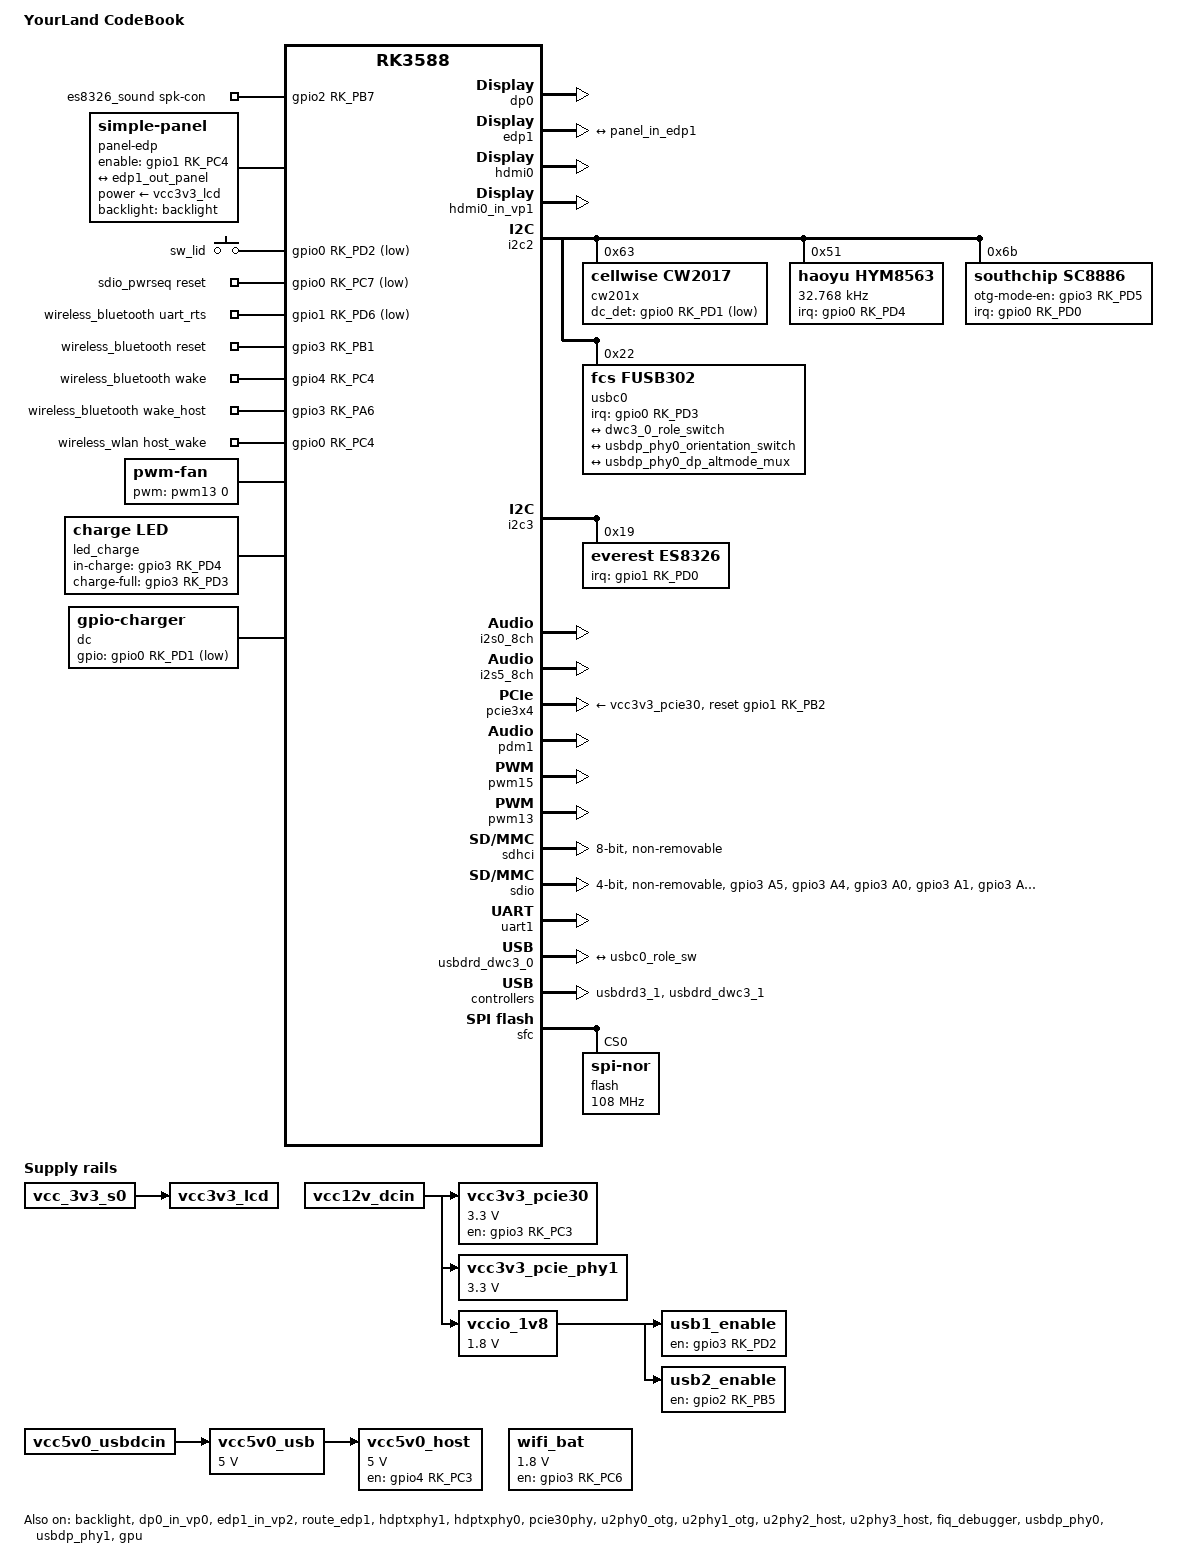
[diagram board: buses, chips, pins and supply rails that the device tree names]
 /*
  * Device Tree for YourLand Code Book.  
  * Copyright (c) 2023-2025 GEDU Technology Ltd. 
  * Copyright (c) 2021 Rockchip Electronics Co., Ltd.
  */
/dts-v1/;
#include <dt-bindings/input/gpio-keys.h>
#include <dt-bindings/input/linux-event-codes.h>
#include <dt-bindings/pwm/pwm.h>
#include <dt-bindings/leds/common.h>
#include <dt-bindings/usb/pd.h>
#include "rk3588.dtsi"
#include "rk3588-rk806-dual.dtsi"
#include "rk3588-linux.dtsi"
#include "rk3588-pc.dtsi"

/ {
	model = "YourLand CodeBook";
	compatible = "rockchip,rk3588-yourland", "rockchip,rk3588";
/*
	chosen: chosen {
		bootargs = "earlycon=uart8250,mmio32,0xfeb50000 console=tty0 root=PARTUUID=614e0000-0000 rw rootwait wifibt=ap6275s:ttyS1";
	};
*/
	dmic_sound: dmic-sound {
		status = "okay";
		compatible = "simple-audio-card";
		simple-audio-card,format = "i2s";
		simple-audio-card,mclk-fs = <256>;
		simple-audio-card,name = "rockchip,dmic-sound";
		simple-audio-card,cpu {
			sound-dai = <&pdm1>;
		};
		simple-audio-card,codec {
			sound-dai = <&dmic_codec>;
		};
	};

	dmic_codec: dmic-codec {
		status = "okay";
		compatible = "rockchip,dummy-codec";
		#sound-dai-cells = <0>;
	};

	es8326_sound: es8326-sound {
		status = "okay";
		compatible = "rockchip,multicodecs-card";
		rockchip,card-name = "rockchip-es8326";
		/* The multicodecs card owns the external speaker amplifier. */
		spk-con-gpios = <&gpio2 RK_PB7 GPIO_ACTIVE_HIGH>;
		rockchip,codec-hp-det;
		rockchip,format = "i2s";
		rockchip,mclk-fs = <256>;
		rockchip,cpu = <&i2s0_8ch>;
		rockchip,codec = <&es8326>;
		rockchip,audio-routing =
		"Headphone", "HPOL",
		"Headphone", "HPOR",
		"Headphone", "Headphone Power",
		"Headphone", "Headphone Power",
		"Speaker", "HPOL",
		"Speaker", "HPOR",
		"Speaker", "Speaker Power",
		"Speaker", "Speaker Power", 
		"MIC1", "Headset Mic",
		"MIC2", "Main Mic";
	};
 
	hdmi0_sound: hdmi0-sound {
		compatible = "rockchip,hdmi";
		rockchip,mclk-fs = <128>;
		rockchip,card-name = "rockchip-hdmi0";
		rockchip,cpu = <&i2s5_8ch>;
		rockchip,codec = <&hdmi0>;
		rockchip,jack-det;
		status = "disabled";
	};

	dp0_sound: dp0-sound {
		status = "disabled";
		compatible = "rockchip,hdmi";
		rockchip,card-name= "rockchip-dp0";
		rockchip,mclk-fs = <512>;
		rockchip,cpu = <&spdif_tx2>;
		rockchip,codec = <&dp0 1>;
		rockchip,jack-det;
	};

	leds: leds {
		compatible = "gpio-leds";
		pinctrl-names = "default";
		pinctrl-0 =<&leds_gpio>;
	};

	panel-edp {
		compatible = "simple-panel";
		backlight = <&backlight>;
		enable-gpios = <&gpio1 RK_PC4 GPIO_ACTIVE_HIGH>;
		power-supply = <&vcc3v3_lcd>;
		prepare-delay-ms = <210>;
		enable-delay-ms = <50>;
		unprepare-delay-ms = <160>;
		disable-delay-ms = <120>;
		width-mm = <309>;
		height-mm = <174>;

		panel-timing {
			clock-frequency = <148500000>;
			hactive = <1920>;
			vactive = <1080>;
			hfront-porch = <48>;
			hsync-len = <32>;
			hback-porch = <200>;
			vfront-porch = <3>;
			vsync-len = <6>;
			vback-porch = <37>;
			hsync-active = <0>;
			vsync-active = <0>;
			de-active = <0>;
			pixelclk-active = <0>;
		};

		port {
			panel_in_edp1: endpoint {
				remote-endpoint = <&edp1_out_panel>;
			};
		};
	};

	keys: gpio-keys {
		compatible = "gpio-keys";
		pinctrl-names = "default";
		pinctrl-0 = <&sw_lid>;

		hall-sensor {
			wakeup-event-action = <EV_ACT_DEASSERTED>;
			wakeup-source;
			gpios = <&gpio0 RK_PD2 GPIO_ACTIVE_LOW>;
			debounce-interval = <20>;
			label = "sw_lid";
			linux,input-type = <EV_SW>;
			linux,code = <SW_LID>;
		};
	};
	
	sdio_pwrseq: sdio-pwrseq {
		compatible = "mmc-pwrseq-simple";
		pinctrl-names = "default";
		pinctrl-0 = <&wifi_enable_h>;

		/*
		 * On the module itself this is one of these (depending
		 * on the actual card populated):
		 * - SDIO_RESET_L_WL_REG_ON
		 * - PDN (power down when low)
		 */
		post-power-on-delay-ms = <200>;
		reset-gpios = <&gpio0 RK_PC7 GPIO_ACTIVE_LOW>;
	};

	vcc3v3_lcd: vcc3v3-lcd {
		compatible = "regulator-fixed";
		regulator-name = "vcc3v3_lcd";
		vin-supply = <&vcc_3v3_s0>;
	};

	vcc3v3_pcie30: vcc3v3-pcie30 {
		compatible = "regulator-fixed";
		regulator-name = "vcc3v3_pcie30";
		regulator-min-microvolt = <3300000>;
		regulator-max-microvolt = <3300000>;
		enable-active-high;
		gpios = <&gpio3 RK_PC3 GPIO_ACTIVE_HIGH>;
		startup-delay-us = <5000>;
		/* Let the NVMe supply discharge before a subsequent power-on. */
		off-on-delay-us = <3000000>;
		vin-supply = <&vcc12v_dcin>;
	};

	vcc3v3_pcie_phy1: vcc3v3-pcie-phy1 {
		compatible = "regulator-fixed";
		regulator-name = "vcc3v3_pcie_phy1";
		regulator-min-microvolt = <3300000>;
		regulator-max-microvolt = <3300000>;
		vin-supply = <&vcc12v_dcin>;
	};

	vccio_1v8: vccio-1v8 {
		compatible = "regulator-fixed";
		regulator-name = "vccio_1v8";
		regulator-min-microvolt = <1800000>;
		regulator-max-microvolt = <1800000>;
		regulator-always-on;
		vin-supply = <&vcc12v_dcin>;
	};

	vcc5v0_host: vcc5v0-host {
		compatible = "regulator-fixed";
		regulator-name = "vcc5v0_host";
		regulator-boot-on;
		regulator-always-on;
		regulator-min-microvolt = <5000000>;
		regulator-max-microvolt = <5000000>;
		enable-active-high;
		gpio = <&gpio4 RK_PC3 GPIO_ACTIVE_HIGH>;
		vin-supply = <&vcc5v0_usb>;
		pinctrl-names = "default";
		pinctrl-0 = <&vcc5v0_host_en>;
	};
/*hard dummy U6102*/
	// vbus5v0_typec: vbus5v0-typec {
	// 	compatible = "regulator-fixed";
	// 	regulator-name = "vbus5v0_typec";
	// 	regulator-min-microvolt = <5000000>;
	// 	regulator-max-microvolt = <5000000>;
	// 	enable-active-high;
	// 	gpio = <&gpio1 RK_PB5 GPIO_ACTIVE_HIGH>;
	// 	vin-supply = <&vcc5v0_sys>;
	// 	pinctrl-names = "default";
	// 	pinctrl-0 = <&typec5v_pwren>;

	// };

	vcc5v0_usb: vcc5v0-usb {
		compatible = "regulator-fixed";
		regulator-name = "vcc5v0_usb";
		regulator-always-on;
		regulator-boot-on;
		regulator-min-microvolt = <5000000>;
		regulator-max-microvolt = <5000000>;
		vin-supply = <&vcc5v0_usbdcin>;
	};

	wifi_bat: wifi_bat {
		compatible = "regulator-fixed";
		regulator-name = "wifi_vbat";
		regulator-boot-on;
		regulator-always-on;
		regulator-min-microvolt = <1800000>;
		regulator-max-microvolt = <1800000>;
		gpio = <&gpio3 RK_PC6 GPIO_ACTIVE_HIGH>;
		enable-active-high;
		pinctrl-names = "default";
		pinctrl-0 = <&wifi_3v3>;
	};

	wireless_bluetooth: wireless-bluetooth {
		compatible = "bluetooth-platdata";
		clocks = <&hym8563>;
		clock-names = "ext_clock";
		uart_rts-gpios = <&gpio1 RK_PD6 GPIO_ACTIVE_LOW>;
		pinctrl-names = "default", "rts_gpio";
		pinctrl-0 = <&uart1m1_rtsn>;
		pinctrl-1 = <&uart1_gpios>;
		BT,reset-gpios    = <&gpio3 RK_PB1 GPIO_ACTIVE_HIGH>;
		BT,wake-gpios     = <&gpio4 RK_PC4 GPIO_ACTIVE_HIGH>;
		BT,wake_host-gpios = <&gpio3 RK_PA6 GPIO_ACTIVE_HIGH>;
		status = "okay";
	};

	wireless_wlan: wireless-wlan {
		compatible = "wlan-platdata";
		wifi_chip_type = "ap6275s";
		pinctrl-names = "default";
		pinctrl-0 = <&wifi_host_wake_irq>;
		WIFI,host_wake-gpios = <&gpio0 RK_PC4 GPIO_ACTIVE_HIGH>;
		status = "okay";
	};

	usb1_enable:usb1-enable {
		compatible = "regulator-fixed";
		regulator-name = "usb1_enable";
		regulator-always-on;
		regulator-boot-on;
		gpio = <&gpio3 RK_PD2 GPIO_ACTIVE_HIGH>;
		enable-active-high;
		vin-supply = <&vccio_1v8>;
	};

	usb2_enable:usb2-enable {
		compatible = "regulator-fixed";
		regulator-name = "usb2_enable";
		regulator-always-on;
		regulator-boot-on;
		gpio = <&gpio2 RK_PB5 GPIO_ACTIVE_HIGH>;
		enable-active-high;
		vin-supply = <&vccio_1v8>;
	};

	fan:pwm-fan {
		compatible = "pwm-fan";
		cooling-min-state = <0>;
		cooling-max-state = <3>;
		#cooling-cells = <2>;
		pwms = <&pwm13 0 3000000 PWM_POLARITY_INVERTED>;//PWM_POLARITY_INVERTED
		cooling-levels = <0 128 192 255>;
	};

	led_charge: charge-control {
		status = "okay";
		compatible = "charge,led";
		in-charge-gpio = <&gpio3 RK_PD4 GPIO_ACTIVE_HIGH>;
		charge-full-gpio = <&gpio3 RK_PD3 GPIO_ACTIVE_HIGH>;
	};

	dc:dc{
		status = "okay";
		compatible = "gpio-charger";
		gpios = <&gpio0 RK_PD1 GPIO_ACTIVE_LOW>;
		charger-type = "mains";
	};

	charge-animation {
		compatible = "rockchip,uboot-charge";
		rockchip,uboot-charge-on = <1>;
		rockchip,android-charge-on = <0>;
		rockchip,uboot-low-power-voltage = <7100>;
		rockchip,screen-on-voltage = <7120>;
		rockchip,uboot-exit-charge-voltage = <7150>;
		rockchip,uboot-exit-charge-auto = <0>;
		rockchip,system-suspend = <0>;
		rockchip,auto-off-screen-interval = <10>;

		regulator-on-in-mem = <&vdd_log_s0>, <&vcc_2v0_pldo_s3>,
		      <&vdd2_ddr_s3>, <&vcc_1v1_nldo_s3>,<&vdd1_1v8_ddr_s3>,
			  <&vccio_1v8_s3>, <&vdd_0v75_s3>,
		      <&vdd1_1v8_ddr_s3>, <&vdd_1v8_pll_s0>, <&pldo6_s3>;
		regulator-off-in-mem = <&vdd_gpu_s0>, <&vdd_npu_s0>,
		       <&vdd_vdenc_s0>, <&vdd_gpu_mem_s0>, <&vdd_npu_mem_s0>,
		       <&vdd_vdenc_mem_s0>, <&avcc_1v8_s0>, <&vcc_3v3_s0>,
		       <&vccio_sd_s0>, <&vdd_0v75_hdmi_edp_s0>, <&avdd_0v75_s0>,
		       <&vdd_0v85_s0>, <&vdd_cpu_big1_s0>, <&vdd_cpu_big0_s0>,
		       <&vdd_cpu_lit_s0>, <&vdd_cpu_big1_mem_s0>, <&vdd_cpu_big0_mem_s0>,
		       <&vcc_1v8_s0>, <&vdd_cpu_lit_mem_s0>, <&vddq_ddr_s0>,
		       <&vdd_ddr_s0>, <&vcc_1v8_cam_s0>, <&avdd1v8_ddr_pll_s0>,
		       <&vcc_3v3_sd_s0>, <&vcc_2v8_cam_s0>, <&vdd_0v75_pll_s0>,
		       <&vdd_ddr_pll_s0>, <&avdd_0v85_s0>, <&avdd_1v2_cam_s0>,
		       <&avdd_1v2_s0>, <&vcc_3v3_s3>;
		status = "okay";
	};
};

&dmic_sound {
	status = "disabled";
};
&dmic_codec {
	status = "disabled";
};

&backlight {
	status = "okay";
	pwms = <&pwm15 0 25000 0>;
	enable-gpios = <&gpio4 RK_PB5 GPIO_ACTIVE_HIGH>;
};

&spdif_tx2{
        status = "disabled";
};

&dp0_sound{
        status = "disabled";
};

&dp0 {
	status = "okay";
};

&dp0_in_vp0 {
	status = "okay";
};

&edp1 {
	force-hpd;
	status = "okay";

	ports {
		port@1 {
			reg = <1>;

			edp1_out_panel: endpoint {
				remote-endpoint = <&panel_in_edp1>;
			};
		};
	};
};

&edp1_in_vp2 {
	status = "okay";
};

&route_edp1 {
	status = "okay";
	connect = <&vp2_out_edp1>;
};

&hdmi0 {
	pinctrl-0=<&hdmim0_tx0_cec &hdmim0_tx0_hpd &hdmim0_tx0_scl &hdmim0_tx0_sda>;
	pinctrl-names = "default";
	enable-gpios = <&gpio4 RK_PB0 GPIO_ACTIVE_HIGH>;
	status = "okay";
};

&hdmi0_in_vp1 {
	status = "okay";
};

&hdmi0_sound {
	status = "okay";
};

&hdptxphy1 {
	status = "okay";
};

&hdptxphy0 {
	status = "okay";
};

&i2c2 {
	i2c-scl-rising-time-ns = <600>;
	i2c-scl-falling-time-ns = <20>;
	status = "okay";
	cw201x: cw201x@63 {
		status = "okay";
		compatible = "cellwise,cw2017","cw201x";
		reg = <0x63>;
		cellwise,battery-profile = /bits/ 8
			<0x32 0x00 0x00 0x00 0x00 0x00 0x00 0x00
			0xA2 0xBF 0xC9 0xF0 0xAC 0xB1 0x97 0x55
			0x42 0xFF 0xFF 0xFF 0xE0 0xB3 0x90 0x80
			0x60 0x4A 0x24 0x80 0xAC 0xD9 0x95 0xD3
			0xD1 0xCF 0xCF 0xCC 0xC9 0xAB 0xEE 0x99
			0xBA 0xB7 0xBB 0x9F 0x8C 0x81 0x74 0x68
			0x5B 0x5D 0x6F 0x8A 0xA0 0x8F 0x57 0x3D
			0x00 0x00 0x90 0x02 0x00 0x00 0x00 0x00
			0x00 0x00 0x64 0x00 0x00 0x00 0x00 0x00
			0x00 0x00 0x00 0x00 0x00 0x00 0x00 0x79>;
		cellwise,dual-cell;
		dc_det_gpio = <&gpio0 RK_PD1 GPIO_ACTIVE_LOW>; //uboot need
		cellwise,monitor-interval-ms = <3000>;
		cellwise,design-capacity-amh = <6000>;
		power-supplies = <&dc>, <&sc8886>;
	};

	hym8563: hym8563@51 {
		compatible = "haoyu,hym8563";
		reg = <0x51>;
		#clock-cells = <0>;
		clock-frequency = <32768>;
		clock-output-names = "hym8563";
		pinctrl-names = "default";
		pinctrl-0 = <&hym8563_int>;
		interrupt-parent = <&gpio0>;
		interrupts = <RK_PD4 IRQ_TYPE_LEVEL_LOW>;
	};

	sc8886: sc8886@6b {
		compatible = "southchip,sc8886","ti,bq25703";
		reg = <0x6b>;
		ti,usb-charger-detection = <&usbc0>;
		interrupt-parent = <&gpio0>;
		interrupts = <RK_PD0 IRQ_TYPE_LEVEL_LOW>;
		otg-mode-en-gpio = <&gpio3 RK_PD5 GPIO_ACTIVE_HIGH>;
		pinctrl-names = "default";
		pinctrl-0 = <&charger_ok>;
		extcon = <&u2phy0>;
		ti,charge-current = <2500000>;
		ti,max-input-voltage = <12000000>;
		ti,max-input-current = <6000000>;
		ti,max-charge-voltage = <8700000>;
		ti,input-current = <2000000>;
		ti,input-current-sdp = <1000000>;
		ti,input-current-dcp = <2000000>;
		ti,input-current-cdp = <2000000>;
		ti,minimum-sys-voltage = <7200000>;
		ti,otg-voltage = <5000000>;
		ti,otg-current = <2000000>;
		pd-charge-only = <0>;
		status = "okay";
	};

	usbc0: fusb302@22 {
		compatible = "fcs,fusb302";
		reg = <0x22>;
		interrupt-parent = <&gpio0>;
		interrupts = <RK_PD3 IRQ_TYPE_LEVEL_LOW>;
		//int-n-gpios = <&gpio0 RK_PD3 IRQ_TYPE_LEVEL_LOW>; //kernel-uboot
		pinctrl-names = "default";
		pinctrl-0 = <&usbc0_int>;
		status = "okay";

		ports {
			#address-cells = <1>;
			#size-cells = <0>;

			port@0 {
				reg = <0>;
				usbc0_role_sw: endpoint@0 {
					remote-endpoint = <&dwc3_0_role_switch>;
				};
			};
		};

		usb_con: connector {
			compatible = "usb-c-connector";
			label = "USB-C";
			data-role = "dual";
			power-role = "dual";
			try-power-role = "sink";
			op-sink-microwatt = <1000000>;
			sink-pdos =
				<PDO_FIXED(5000, 1000, PDO_FIXED_USB_COMM)>,
				<PDO_FIXED(15000, 3000, PDO_FIXED_USB_COMM)>;
			source-pdos =
				<PDO_FIXED(5000, 3000, PDO_FIXED_USB_COMM)>;

			altmodes {
				#address-cells = <1>;
				#size-cells = <0>;

				altmode@0 {
					reg = <0>;
					svid = <0xff01>;
					vdo = <0xffffffff>;
				};
			};

			ports {
				#address-cells = <1>;
				#size-cells = <0>;

				port@0 {
					reg = <0>;
					usbc0_orien_sw: endpoint {
						remote-endpoint = <&usbdp_phy0_orientation_switch>;
					};
				};

				port@1 {
					reg = <1>;
					dp_altmode_mux: endpoint {
						remote-endpoint = <&usbdp_phy0_dp_altmode_mux>;
					};
				};
			};
		};
	};
};

&i2c3 {
	status = "okay";

/*	es8326: es8326@19 {
		compatible = "everest,es8326";
		status = "okay";
		reg = <0x19>;
		#sound-dai-cells = <0>;
		clocks = <&mclkout_i2s0>;
		clock-names = "mclk";
		assigned-clocks = <&mclkout_i2s0>;
		assigned-clock-rates = <12288000>;
		pinctrl-names = "default";
		pinctrl-0 = <&i2s0_mclk &hp_det_p>;
		spk-con-gpio = <&gpio2 RK_PB7 GPIO_ACTIVE_HIGH>;
		interrupt-parent = <&gpio1>;
		interrupts = <RK_PD0  IRQ_TYPE_EDGE_RISING>;
		mic1-src = [22];
		mic2-src = [44];
		jack-pol = [07];
	};*/
	es8326: es8326@19 {
		compatible = "everest,es8326";
		status = "okay";
		reg = <0x19>;
		#sound-dai-cells = <0>;
		clocks = <&mclkout_i2s0>;
		clock-names = "mclk";
		assigned-clocks = <&mclkout_i2s0>;
		assigned-clock-rates = <12288000>;
		pinctrl-names = "default";
		pinctrl-0 = <&i2s0_mclk &hp_det_p>;
		interrupt-parent = <&gpio1>;
		interrupts = <RK_PD0  IRQ_TYPE_EDGE_RISING>;
		mic1-src = [22];
		mic2-src = [44];
		everest,jack-pol = [07];
	};	
};

&i2s0_8ch {
	status = "okay";
	#sound-dai-cells = <0>;
	rockchip,i2s-rx-route = <0 2 1 3>;
	pinctrl-names = "default";
	pinctrl-0 = <&i2s0_lrck
		     &i2s0_sclk
		     &i2s0_sdi0
		     &i2s0_sdi1
		     &i2s0_sdi2
		     &i2s0_sdo0>;
	rockchip,initial-playback-mclk-rate = <12288000>;
    rockchip,initial-playback-sample-rate = <48000>;
    rockchip,initial-playback-sample-bits = <16>;
    rockchip,initial-playback-channels = <2>;
    rockchip,initial-capture-mclk-rate = <12288000>;
    rockchip,initial-capture-sample-rate = <48000>;
    rockchip,initial-capture-sample-bits = <16>;
    rockchip,initial-capture-channels = <2>;
	rockchip,bclk-fs = <32>;
    rockchip,always-on;
};

&i2s5_8ch {
	status = "okay";
};

&pcie30phy {
	rockchip,pcie30-phymode = <PHY_MODE_PCIE_AGGREGATION>;
	phy-supply = <&vcc3v3_pcie_phy1>;
	resets = <&cru SRST_PCIE30_PHY>;
	reset-names = "phy";
	status = "okay";
};

&pcie3x4 {
	reset-gpios = <&gpio1 RK_PB2 GPIO_ACTIVE_HIGH>;
	vpcie3v3-supply = <&vcc3v3_pcie30>;
	status = "okay";
};

&pdm1 {
	status = "okay";
	#sound-dai-cells = <0>;
	pinctrl-names = "default";
	pinctrl-0 = <&pdm1m1_clk
		     &pdm1m1_sdi0>;
};

&pinctrl {

	gpio-leds {
		leds_gpio: leds-gpio {
			rockchip,pins = <3 RK_PC1 RK_FUNC_GPIO &pcfg_output_high>;
		};
	};

	hym8563 {
		hym8563_int: hym8563-int {
			rockchip,pins = <0 RK_PD4 RK_FUNC_GPIO &pcfg_pull_up>;
		};
	};

	keys {
		sw_lid: sw-lid {
			rockchip,pins = <0 RK_PD2 RK_FUNC_GPIO &pcfg_pull_up>;
		};
	};

	sc8886 {
		charger_ok: charger-ok {
			rockchip,pins = <0 RK_PD0 RK_FUNC_GPIO &pcfg_pull_up>;
		};
	};

	sdio-pwrseq {
		wifi_enable_h: wifi-enable-h {
			rockchip,pins = <0 RK_PC7 RK_FUNC_GPIO &pcfg_pull_none>;
		};
	};

	sdio-wifi {
		sdio_pins: sdio-pins {
			rockchip,pins =
				/* sdio_clk_m1 */
				<3 RK_PA5 2 &pcfg_pull_up_drv_level_2>,
				/* sdio_cmd_m1 */
				<3 RK_PA4 2 &pcfg_pull_up_drv_level_2>,
				/* sdio_d0_m1 */
				<3 RK_PA0 2 &pcfg_pull_up_drv_level_2>,
				/* sdio_d1_m1 */
				<3 RK_PA1 2 &pcfg_pull_up_drv_level_2>,
				/* sdio_d2_m1 */
				<3 RK_PA2 2 &pcfg_pull_up_drv_level_2>,
				/* sdio_d3_m1 */
				<3 RK_PA3 2 &pcfg_pull_up_drv_level_2>;
		};
	};

	usb {
		vcc5v0_host_en: vcc5v0-host-en {
			rockchip,pins = <4 RK_PC3 RK_FUNC_GPIO &pcfg_pull_none>,
					<2 RK_PB6 RK_FUNC_GPIO &pcfg_output_high>, /* CAM_EN */
					<3 RK_PC0 RK_FUNC_GPIO &pcfg_output_high>; /* HUB_EN */
		};
	};

	usb-typec {
		usbc0_int: usbc0-int {
			rockchip,pins = <0 RK_PD3 RK_FUNC_GPIO &pcfg_pull_up>;
		};

		typec5v_pwren: typec5v-pwren {
			rockchip,pins = <1 RK_PB5 RK_FUNC_GPIO &pcfg_pull_none>;
		};
	};

	wifi_vbat {
		wifi_3v3: wifi-vbat {
			rockchip,pins = <3 RK_PC6 RK_FUNC_GPIO &pcfg_pull_up>;
		};
	};

	wireless-bluetooth {
		uart1_gpios: uart1-gpios {
			rockchip,pins = <1 RK_PD6 RK_FUNC_GPIO &pcfg_pull_none>;
		};
	};

	wireless-wlan {
		wifi_host_wake_irq: wifi-host-wake-irq {
			rockchip,pins = <0 RK_PC4 RK_FUNC_GPIO &pcfg_pull_down>;
		};
	};
	es8326 {
		hp_det_p:hp-det-p {
			rockchip,pins = <1 RK_PD0 RK_FUNC_GPIO &pcfg_pull_down>;
		};
	};
};

&pwm15 {
	pinctrl-0 = <&pwm15m1_pins>;
	status = "okay";
};

&pwm13 {
	pinctrl-0 = <&pwm13m1_pins>;
	status = "okay";
};

&sdhci {
	bus-width = <8>;
	no-sdio;
	no-sd;
	non-removable;
	max-frequency = <200000000>;
	mmc-hs400-1_8v;
	//mmc-hs400-enhanced-strobe;
	status = "okay";
};

&sdio {
	max-frequency = <150000000>;
	no-sd;
	no-mmc;
	bus-width = <4>;
	disable-wp;
	cap-sd-highspeed;
	cap-sdio-irq;
	keep-power-in-suspend;
	mmc-pwrseq = <&sdio_pwrseq>;
	non-removable;
	pinctrl-names = "default";
	pinctrl-0 = <&sdio_pins>;
	sd-uhs-sdr104;
	status = "okay";
};

&sdmmc {
	max-frequency = <150000000>;
	no-sdio;
	no-mmc;
	bus-width = <4>;
	cap-mmc-highspeed;
	cap-sd-highspeed;
	disable-wp;
	sd-uhs-sdr104;
	vmmc-supply = <&vcc_3v3_sd_s0>;
	vqmmc-supply = <&vccio_sd_s0>;
	status = "disabled"; // to save uart2 sd serial port
};

&u2phy0_otg {
	status = "okay";
};

&u2phy1_otg {
	status = "okay";
};

&u2phy2_host {
	status = "okay";
};

&u2phy3_host {
	status = "okay";
};

&uart1 {
	status = "okay";
	pinctrl-names = "default";
	pinctrl-0 = <&uart1m1_xfer &uart1m1_ctsn>;
};

&fiq_debugger {
	status = "okay";
	pinctrl-names = "default";
	pinctrl-0 = <&uart2m1_xfer>;
};

&usbdrd_dwc3_0 {
	status = "okay";
	usb-role-switch;
	port {
		#address-cells = <1>;
		#size-cells = <0>;
		dwc3_0_role_switch: endpoint@0 {
			reg = <0>;
			remote-endpoint = <&usbc0_role_sw>;
		};
	};
};

&usbdrd3_1 {
	status = "okay";
};

&usbdrd_dwc3_1 {
       status = "okay";
};

&usbdp_phy0 {
	status = "okay";
	orientation-switch;
	svid = <0xff01>;
	sbu1-dc-gpios = <&gpio4 RK_PA6 GPIO_ACTIVE_HIGH>;
	sbu2-dc-gpios = <&gpio4 RK_PA7 GPIO_ACTIVE_HIGH>;

	port {
		#address-cells = <1>;
		#size-cells = <0>;
		usbdp_phy0_orientation_switch: endpoint@0 {
		reg = <0>;
		remote-endpoint = <&usbc0_orien_sw>;
		};

		usbdp_phy0_dp_altmode_mux: endpoint@1 {
		reg = <1>;
		remote-endpoint = <&dp_altmode_mux>;
		};
	};
};

&usbdp_phy1 {
	status = "okay";
};

#if 0 //uos
&vp0 {
	cursor-win-id = <ROCKCHIP_VOP2_ESMART0>;
	rockchip,plane-mask = <(1 << ROCKCHIP_VOP2_CLUSTER0 | 1 << ROCKCHIP_VOP2_ESMART0)>;
	rockchip,primary-plane = <ROCKCHIP_VOP2_CLUSTER0>;
};

&vp1 {
	cursor-win-id = <ROCKCHIP_VOP2_ESMART1>;
	rockchip,plane-mask = <(1 << ROCKCHIP_VOP2_CLUSTER1 | 1 << ROCKCHIP_VOP2_ESMART1 | 1 << ROCKCHIP_VOP2_CLUSTER3)>;
	rockchip,primary-plane = <ROCKCHIP_VOP2_CLUSTER1>;
};

&vp2 {
	cursor-win-id = <ROCKCHIP_VOP2_ESMART2>;
	rockchip,plane-mask = <(1 << ROCKCHIP_VOP2_CLUSTER2 | 1 << ROCKCHIP_VOP2_ESMART2 | 1 << ROCKCHIP_VOP2_ESMART3)>;
	rockchip,primary-plane = <ROCKCHIP_VOP2_CLUSTER2>;
};

&vp3 {
	rockchip,plane-mask;
	rockchip,primary-plane;
};
#endif

#if 1 //ubuntu
/* vp0 & vp1 splice for 8K output */
&vp0 {
        rockchip,plane-mask = <(1 << ROCKCHIP_VOP2_CLUSTER0 | 1 << ROCKCHIP_VOP2_ESMART0)>;
        rockchip,primary-plane = <ROCKCHIP_VOP2_ESMART0>;
};

&vp1 {
        rockchip,plane-mask = <(1 << ROCKCHIP_VOP2_CLUSTER1 | 1 << ROCKCHIP_VOP2_ESMART1)>;
        rockchip,primary-plane = <ROCKCHIP_VOP2_ESMART1>;
};

&vp2 {
        /* Keep eDP scanout on Esmart2; dedicate linear ARGB Esmart3 to the cursor. */
        cursor-win-id = <ROCKCHIP_VOP2_ESMART3>;
        rockchip,plane-mask = <(1 << ROCKCHIP_VOP2_CLUSTER2 | 1 << ROCKCHIP_VOP2_ESMART2 | 1 << ROCKCHIP_VOP2_ESMART3)>;
        rockchip,primary-plane = <ROCKCHIP_VOP2_ESMART2>;
};

&vp3 {
        /* This board has no active connector on VP3; Esmart3 belongs to VP2. */
        rockchip,plane-mask;
        rockchip,primary-plane;
};
#endif

&vcc_1v8_s0 {
       /delete-property/ regulator-state-mem;
       regulator-state-mem {
               regulator-on-in-suspend;
               regulator-suspend-microvolt = <1800000>;
       };
};

&vcc_3v3_s0 {
       /delete-property/ regulator-state-mem;
       regulator-state-mem {
               regulator-on-in-suspend;
               regulator-suspend-microvolt = <3300000>;
       };
};

/* ARMOFF_DDRPD keeps the logic domain powered: without this rail the board does not wake. */
&vdd_log_s0 {
	regulator-state-mem {
		/delete-property/ regulator-off-in-suspend;
		regulator-on-in-suspend;
		regulator-suspend-microvolt = <750000>;
	};
};

/*
 * The AP6275S Wi-Fi/Bluetooth module depends on this rail in deep sleep.
 * With it cut, the module does not answer after resume.
 */
&vcc_1v8_cam_s0 {
	regulator-state-mem {
		/delete-property/ regulator-off-in-suspend;
		regulator-on-in-suspend;
		regulator-suspend-microvolt = <1800000>;
	};
};

&rockchip_suspend {
	rockchip,sleep-debug-en = <0>;
	/*
	 * Keep the logic domain powered in deep sleep. Under the default
	 * ARMOFF_LOGOFF the AP6275S's Bluetooth does not survive suspend.
	 */
	rockchip,sleep-mode-config = <
		(0
		| RKPM_SLP_ARMOFF_DDRPD
		| RKPM_SLP_PMU_PMUALIVE_32K
		| RKPM_SLP_PMU_DIS_OSC
		| RKPM_SLP_32K_EXT
		)
	>;
	status="okay";
};

&sfc {
	status="okay";
	flash@0 {
		compatible = "jedec,spi-nor";
		reg = <0>;
		spi-max-frequency = <108000000>;
		spi-rx-bus-width = <2>;
		spi-tx-bus-width = <2>;
    };
};

&reboot_mode {
    // keep old compatible
    mode-nvme-old = <0x5242c310>;
    mode-emmc-old = <0x5242c311>;
    // added extensions by GEDU, starting from 0x5242c360
    mode-nvme = <0x5242c360>;
    mode-emmc = <0x5242c361>;
    mode-sdc = <0x5242c362>;
    mode-usb = <0x5242c363>;
    mode-console = <0x5242c364>;
    mode-kdbg = <0x5242c365>;
    mode-krnl5 = <0x5242c366>;
    mode-krnl6 = <0x5242c367>;
    mode-kasan = <0x5242c368>;
    mode-udbg = <0x5242c369>;
    mode-adbg = <0x5242c36A>;
    mode-vdbg = <0x5242c36B>;
};
&CPU_SLEEP {
	status = "disabled"; // to make JTAG debug happy temporarily on 2025-5-14
};

&gpu {
    status = "okay";
    compatible = "rockchip,rk3588-mali", "arm,mali-valhall-csf";
    interrupts = <GIC_SPI 92 IRQ_TYPE_LEVEL_HIGH>,
                 <GIC_SPI 93 IRQ_TYPE_LEVEL_HIGH>,
                 <GIC_SPI 94 IRQ_TYPE_LEVEL_HIGH>;
    interrupt-names = "job", "mmu", "gpu";
    clocks = <&cru CLK_GPU>, <&cru CLK_GPU_COREGROUP>,
             <&cru CLK_GPU_STACKS>;
    clock-names = "core", "coregroup", "stacks";
    mali-supply = <&vdd_gpu_s0>;
    sram-supply = <&vdd_gpu_mem_s0>;
    operating-points-v2 = <&yourland_panthor_opp>;
    /delete-property/ mem-supply;
};

/* Panthor manages one OPP supply; the RK806 rails track through coupling. */
&vdd_gpu_s0 {
    regulator-always-on;
    regulator-coupled-with = <&vdd_gpu_mem_s0>;
    regulator-coupled-max-spread = <10000>;
};

&vdd_gpu_mem_s0 {
    regulator-always-on;
    regulator-coupled-with = <&vdd_gpu_s0>;
    regulator-coupled-max-spread = <10000>;
};

/ {
    reserved-memory {
        cma {
            /* 8 MiB exhausted when the 1080p desktop allocated scanout buffers. */
            size = <0x0 (256 * 0x100000)>;
        };
    };

    yourland_panthor_opp: gpu-opp-table-panthor {
        compatible = "operating-points-v2";
        /* Rates and voltages from Rockchip rk3588-opp.dtsi. */
        opp-300000000 {
            opp-hz = /bits/ 64 <300000000>;
            opp-microvolt = <675000 675000 850000>;
        };
        opp-400000000 {
            opp-hz = /bits/ 64 <400000000>;
            opp-microvolt = <675000 675000 850000>;
        };
        opp-500000000 {
            opp-hz = /bits/ 64 <500000000>;
            opp-microvolt = <675000 675000 850000>;
        };
        opp-600000000 {
            opp-hz = /bits/ 64 <600000000>;
            opp-microvolt = <675000 675000 850000>;
        };
        opp-700000000 {
            opp-hz = /bits/ 64 <700000000>;
            opp-microvolt = <700000 700000 850000>;
        };
        opp-800000000 {
            opp-hz = /bits/ 64 <800000000>;
            opp-microvolt = <750000 750000 850000>;
        };
        opp-900000000 {
            opp-hz = /bits/ 64 <900000000>;
            opp-microvolt = <800000 800000 850000>;
        };
        opp-1000000000 {
            opp-hz = /bits/ 64 <1000000000>;
            opp-microvolt = <850000 850000 850000>;
        };
    };
};
